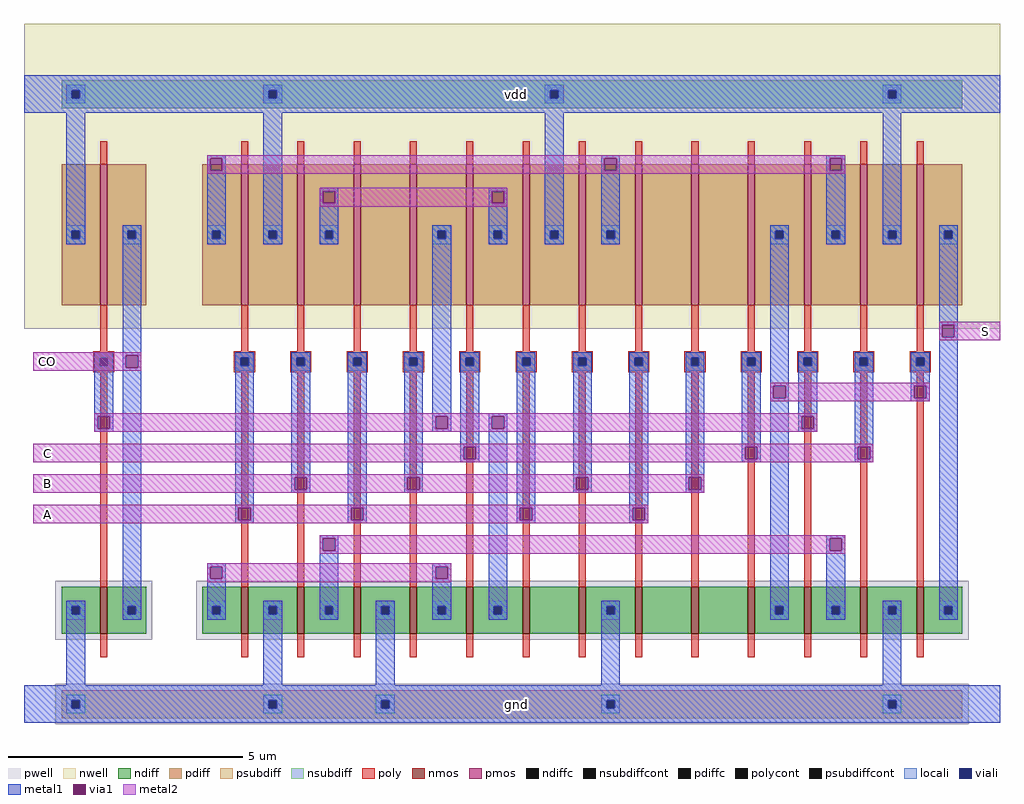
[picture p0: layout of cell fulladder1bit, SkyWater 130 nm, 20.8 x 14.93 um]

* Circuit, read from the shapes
.subckt fulladder1bit A B C CO S vdd gnd
XM1 CO n1 gnd gnd sky130_fd_pr__nfet_01v8 w=1 l=0.15
XM2 gnd A n2 gnd sky130_fd_pr__nfet_01v8 w=1 l=0.15
XM3 n3 B gnd gnd sky130_fd_pr__nfet_01v8 w=1 l=0.15
XM4 gnd A n3 gnd sky130_fd_pr__nfet_01v8 w=1 l=0.15
XM5 n2 B gnd gnd sky130_fd_pr__nfet_01v8 w=1 l=0.15
XM6 n1 C n2 gnd sky130_fd_pr__nfet_01v8 w=1 l=0.15
XM7 n4 A n1 gnd sky130_fd_pr__nfet_01v8 w=1 l=0.15
XM8 gnd B n4 gnd sky130_fd_pr__nfet_01v8 w=1 l=0.15
XM9 n5 A gnd gnd sky130_fd_pr__nfet_01v8 w=1 l=0.15
XM10 n6 B n5 gnd sky130_fd_pr__nfet_01v8 w=1 l=0.15
XM11 n7 C n6 gnd sky130_fd_pr__nfet_01v8 w=1 l=0.15
XM12 n3 n1 n7 gnd sky130_fd_pr__nfet_01v8 w=1 l=0.15
XM13 gnd C n3 gnd sky130_fd_pr__nfet_01v8 w=1 l=0.15
XM14 S n7 gnd gnd sky130_fd_pr__nfet_01v8 w=1 l=0.15
XM15 CO n1 vdd vdd sky130_fd_pr__pfet_01v8 w=3 l=0.15
XM16 vdd A n8 vdd sky130_fd_pr__pfet_01v8 w=3 l=0.15
XM17 n9 B vdd vdd sky130_fd_pr__pfet_01v8 w=3 l=0.15
XM18 n10 A n9 vdd sky130_fd_pr__pfet_01v8 w=3 l=0.15
XM19 n1 B n10 vdd sky130_fd_pr__pfet_01v8 w=3 l=0.15
XM20 n9 C n1 vdd sky130_fd_pr__pfet_01v8 w=3 l=0.15
XM21 vdd A n9 vdd sky130_fd_pr__pfet_01v8 w=3 l=0.15
XM22 n8 B vdd vdd sky130_fd_pr__pfet_01v8 w=3 l=0.15
XM23 n11 A n8 vdd sky130_fd_pr__pfet_01v8 w=3 l=0.15
XM24 n12 B n11 vdd sky130_fd_pr__pfet_01v8 w=3 l=0.15
XM25 n7 C n12 vdd sky130_fd_pr__pfet_01v8 w=3 l=0.15
XM26 n8 n1 n7 vdd sky130_fd_pr__pfet_01v8 w=3 l=0.15
XM27 vdd C n8 vdd sky130_fd_pr__pfet_01v8 w=3 l=0.15
XM28 S n7 vdd vdd sky130_fd_pr__pfet_01v8 w=3 l=0.15
.ends

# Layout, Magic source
magic
tech sky130A
magscale 1 2
<< nwell >>
rect -100 1700 4060 3000
<< pwell >>
rect 34 374 446 626
rect 634 374 3926 626
rect 34 14 3926 186
<< nmos >>
rect 225 400 255 600
rect 825 400 855 600
rect 1065 400 1095 600
rect 1305 400 1335 600
rect 1545 400 1575 600
rect 1785 400 1815 600
rect 2025 400 2055 600
rect 2265 400 2295 600
rect 2505 400 2535 600
rect 2745 400 2775 600
rect 2985 400 3015 600
rect 3225 400 3255 600
rect 3465 400 3495 600
rect 3705 400 3735 600
<< pmos >>
rect 225 1800 255 2400
rect 825 1800 855 2400
rect 1065 1800 1095 2400
rect 1305 1800 1335 2400
rect 1545 1800 1575 2400
rect 1785 1800 1815 2400
rect 2025 1800 2055 2400
rect 2265 1800 2295 2400
rect 2505 1800 2535 2400
rect 2745 1800 2775 2400
rect 2985 1800 3015 2400
rect 3225 1800 3255 2400
rect 3465 1800 3495 2400
rect 3705 1800 3735 2400
<< ndiff >>
rect 60 517 225 600
rect 60 483 103 517
rect 137 483 225 517
rect 60 400 225 483
rect 255 517 420 600
rect 255 483 343 517
rect 377 483 420 517
rect 255 400 420 483
rect 660 517 825 600
rect 660 483 703 517
rect 737 483 825 517
rect 660 400 825 483
rect 855 517 1065 600
rect 855 483 943 517
rect 977 483 1065 517
rect 855 400 1065 483
rect 1095 517 1305 600
rect 1095 483 1183 517
rect 1217 483 1305 517
rect 1095 400 1305 483
rect 1335 517 1545 600
rect 1335 483 1423 517
rect 1457 483 1545 517
rect 1335 400 1545 483
rect 1575 517 1785 600
rect 1575 483 1663 517
rect 1697 483 1785 517
rect 1575 400 1785 483
rect 1815 517 2025 600
rect 1815 483 1903 517
rect 1937 483 2025 517
rect 1815 400 2025 483
rect 2055 400 2265 600
rect 2295 517 2505 600
rect 2295 483 2383 517
rect 2417 483 2505 517
rect 2295 400 2505 483
rect 2535 400 2745 600
rect 2775 400 2985 600
rect 3015 517 3225 600
rect 3015 483 3103 517
rect 3137 483 3225 517
rect 3015 400 3225 483
rect 3255 517 3465 600
rect 3255 483 3343 517
rect 3377 483 3465 517
rect 3255 400 3465 483
rect 3495 517 3705 600
rect 3495 483 3583 517
rect 3617 483 3705 517
rect 3495 400 3705 483
rect 3735 517 3900 600
rect 3735 483 3823 517
rect 3857 483 3900 517
rect 3735 400 3900 483
<< pdiff >>
rect 60 2117 225 2400
rect 60 2083 103 2117
rect 137 2083 225 2117
rect 60 1800 225 2083
rect 255 2117 420 2400
rect 255 2083 343 2117
rect 377 2083 420 2117
rect 255 1800 420 2083
rect 660 2117 825 2400
rect 660 2083 703 2117
rect 737 2083 825 2117
rect 660 1800 825 2083
rect 855 2117 1065 2400
rect 855 2083 943 2117
rect 977 2083 1065 2117
rect 855 1800 1065 2083
rect 1095 2117 1305 2400
rect 1095 2083 1183 2117
rect 1217 2083 1305 2117
rect 1095 1800 1305 2083
rect 1335 1800 1545 2400
rect 1575 2117 1785 2400
rect 1575 2083 1663 2117
rect 1697 2083 1785 2117
rect 1575 1800 1785 2083
rect 1815 2117 2025 2400
rect 1815 2083 1903 2117
rect 1937 2083 2025 2117
rect 1815 1800 2025 2083
rect 2055 2117 2265 2400
rect 2055 2083 2143 2117
rect 2177 2083 2265 2117
rect 2055 1800 2265 2083
rect 2295 2117 2505 2400
rect 2295 2083 2383 2117
rect 2417 2083 2505 2117
rect 2295 1800 2505 2083
rect 2535 1800 2745 2400
rect 2775 1800 2985 2400
rect 3015 2117 3225 2400
rect 3015 2083 3103 2117
rect 3137 2083 3225 2117
rect 3015 1800 3225 2083
rect 3255 2117 3465 2400
rect 3255 2083 3343 2117
rect 3377 2083 3465 2117
rect 3255 1800 3465 2083
rect 3495 2117 3705 2400
rect 3495 2083 3583 2117
rect 3617 2083 3705 2117
rect 3495 1800 3705 2083
rect 3735 2117 3900 2400
rect 3735 2083 3823 2117
rect 3857 2083 3900 2117
rect 3735 1800 3900 2083
<< ndiffc >>
rect 103 483 137 517
rect 343 483 377 517
rect 703 483 737 517
rect 943 483 977 517
rect 1183 483 1217 517
rect 1423 483 1457 517
rect 1663 483 1697 517
rect 1903 483 1937 517
rect 2383 483 2417 517
rect 3103 483 3137 517
rect 3343 483 3377 517
rect 3583 483 3617 517
rect 3823 483 3857 517
<< pdiffc >>
rect 103 2083 137 2117
rect 343 2083 377 2117
rect 703 2083 737 2117
rect 943 2083 977 2117
rect 1183 2083 1217 2117
rect 1663 2083 1697 2117
rect 1903 2083 1937 2117
rect 2143 2083 2177 2117
rect 2383 2083 2417 2117
rect 3103 2083 3137 2117
rect 3343 2083 3377 2117
rect 3583 2083 3617 2117
rect 3823 2083 3857 2117
<< psubdiff >>
rect 60 117 3900 160
rect 60 83 103 117
rect 137 83 943 117
rect 977 83 1423 117
rect 1457 83 2383 117
rect 2417 83 3583 117
rect 3617 83 3900 117
rect 60 40 3900 83
<< nsubdiff >>
rect 60 2717 3900 2760
rect 60 2683 103 2717
rect 137 2683 943 2717
rect 977 2683 2143 2717
rect 2177 2683 3583 2717
rect 3617 2683 3900 2717
rect 60 2640 3900 2683
<< psubdiffcont >>
rect 103 83 137 117
rect 943 83 977 117
rect 1423 83 1457 117
rect 2383 83 2417 117
rect 3583 83 3617 117
<< nsubdiffcont >>
rect 103 2683 137 2717
rect 943 2683 977 2717
rect 2143 2683 2177 2717
rect 3583 2683 3617 2717
<< poly >>
rect 225 2400 255 2500
rect 825 2400 855 2500
rect 1065 2400 1095 2500
rect 1305 2400 1335 2500
rect 1545 2400 1575 2500
rect 1785 2400 1815 2500
rect 2025 2400 2055 2500
rect 2265 2400 2295 2500
rect 2505 2400 2535 2500
rect 2745 2400 2775 2500
rect 2985 2400 3015 2500
rect 3225 2400 3255 2500
rect 3465 2400 3495 2500
rect 3705 2400 3735 2500
rect 225 1605 255 1800
rect 825 1605 855 1800
rect 1065 1605 1095 1800
rect 1305 1605 1335 1800
rect 1545 1605 1575 1800
rect 1785 1605 1815 1800
rect 2025 1605 2055 1800
rect 2265 1605 2295 1800
rect 2505 1605 2535 1800
rect 2745 1605 2775 1800
rect 2985 1605 3015 1800
rect 3225 1605 3255 1800
rect 3465 1605 3495 1800
rect 3705 1605 3735 1800
rect 195 1577 285 1605
rect 195 1543 223 1577
rect 257 1543 285 1577
rect 195 1515 285 1543
rect 795 1577 885 1605
rect 795 1543 823 1577
rect 857 1543 885 1577
rect 795 1515 885 1543
rect 1035 1577 1125 1605
rect 1035 1543 1063 1577
rect 1097 1543 1125 1577
rect 1035 1515 1125 1543
rect 1275 1577 1365 1605
rect 1275 1543 1303 1577
rect 1337 1543 1365 1577
rect 1275 1515 1365 1543
rect 1515 1577 1605 1605
rect 1515 1543 1543 1577
rect 1577 1543 1605 1577
rect 1515 1515 1605 1543
rect 1755 1577 1845 1605
rect 1755 1543 1783 1577
rect 1817 1543 1845 1577
rect 1755 1515 1845 1543
rect 1995 1577 2085 1605
rect 1995 1543 2023 1577
rect 2057 1543 2085 1577
rect 1995 1515 2085 1543
rect 2235 1577 2325 1605
rect 2235 1543 2263 1577
rect 2297 1543 2325 1577
rect 2235 1515 2325 1543
rect 2475 1577 2565 1605
rect 2475 1543 2503 1577
rect 2537 1543 2565 1577
rect 2475 1515 2565 1543
rect 2715 1577 2805 1605
rect 2715 1543 2743 1577
rect 2777 1543 2805 1577
rect 2715 1515 2805 1543
rect 2955 1577 3045 1605
rect 2955 1543 2983 1577
rect 3017 1543 3045 1577
rect 2955 1515 3045 1543
rect 3195 1577 3285 1605
rect 3195 1543 3223 1577
rect 3257 1543 3285 1577
rect 3195 1515 3285 1543
rect 3435 1577 3525 1605
rect 3435 1543 3463 1577
rect 3497 1543 3525 1577
rect 3435 1515 3525 1543
rect 3675 1577 3765 1605
rect 3675 1543 3703 1577
rect 3737 1543 3765 1577
rect 3675 1515 3765 1543
rect 225 600 255 1515
rect 825 600 855 1515
rect 1065 600 1095 1515
rect 1305 600 1335 1515
rect 1545 600 1575 1515
rect 1785 600 1815 1515
rect 2025 600 2055 1515
rect 2265 600 2295 1515
rect 2505 600 2535 1515
rect 2745 600 2775 1515
rect 2985 600 3015 1515
rect 3225 600 3255 1515
rect 3465 600 3495 1515
rect 3705 600 3735 1515
rect 225 300 255 400
rect 825 300 855 400
rect 1065 300 1095 400
rect 1305 300 1335 400
rect 1545 300 1575 400
rect 1785 300 1815 400
rect 2025 300 2055 400
rect 2265 300 2295 400
rect 2505 300 2535 400
rect 2745 300 2775 400
rect 2985 300 3015 400
rect 3225 300 3255 400
rect 3465 300 3495 400
rect 3705 300 3735 400
<< polycont >>
rect 223 1543 257 1577
rect 823 1543 857 1577
rect 1063 1543 1097 1577
rect 1303 1543 1337 1577
rect 1543 1543 1577 1577
rect 1783 1543 1817 1577
rect 2023 1543 2057 1577
rect 2263 1543 2297 1577
rect 2503 1543 2537 1577
rect 2743 1543 2777 1577
rect 2983 1543 3017 1577
rect 3223 1543 3257 1577
rect 3463 1543 3497 1577
rect 3703 1543 3737 1577
<< locali >>
rect 80 2717 160 2740
rect 80 2683 103 2717
rect 137 2683 160 2717
rect 80 2660 160 2683
rect 920 2717 1000 2740
rect 920 2683 943 2717
rect 977 2683 1000 2717
rect 920 2660 1000 2683
rect 2120 2717 2200 2740
rect 2120 2683 2143 2717
rect 2177 2683 2200 2717
rect 2120 2660 2200 2683
rect 3560 2717 3640 2740
rect 3560 2683 3583 2717
rect 3617 2683 3640 2717
rect 3560 2660 3640 2683
rect 80 2117 160 2140
rect 80 2083 103 2117
rect 137 2083 160 2117
rect 80 2060 160 2083
rect 320 2117 400 2140
rect 320 2083 343 2117
rect 377 2083 400 2117
rect 320 2060 400 2083
rect 680 2117 760 2140
rect 680 2083 703 2117
rect 737 2083 760 2117
rect 680 2060 760 2083
rect 920 2117 1000 2140
rect 920 2083 943 2117
rect 977 2083 1000 2117
rect 920 2060 1000 2083
rect 1160 2117 1240 2140
rect 1160 2083 1183 2117
rect 1217 2083 1240 2117
rect 1160 2060 1240 2083
rect 1640 2117 1720 2140
rect 1640 2083 1663 2117
rect 1697 2083 1720 2117
rect 1640 2060 1720 2083
rect 1880 2117 1960 2140
rect 1880 2083 1903 2117
rect 1937 2083 1960 2117
rect 1880 2060 1960 2083
rect 2120 2117 2200 2140
rect 2120 2083 2143 2117
rect 2177 2083 2200 2117
rect 2120 2060 2200 2083
rect 2360 2117 2440 2140
rect 2360 2083 2383 2117
rect 2417 2083 2440 2117
rect 2360 2060 2440 2083
rect 3080 2117 3160 2140
rect 3080 2083 3103 2117
rect 3137 2083 3160 2117
rect 3080 2060 3160 2083
rect 3320 2117 3400 2140
rect 3320 2083 3343 2117
rect 3377 2083 3400 2117
rect 3320 2060 3400 2083
rect 3560 2117 3640 2140
rect 3560 2083 3583 2117
rect 3617 2083 3640 2117
rect 3560 2060 3640 2083
rect 3800 2117 3880 2140
rect 3800 2083 3823 2117
rect 3857 2083 3880 2117
rect 3800 2060 3880 2083
rect 200 1577 280 1600
rect 200 1543 223 1577
rect 257 1543 280 1577
rect 200 1520 280 1543
rect 800 1577 880 1600
rect 800 1543 823 1577
rect 857 1543 880 1577
rect 800 1520 880 1543
rect 1040 1577 1120 1600
rect 1040 1543 1063 1577
rect 1097 1543 1120 1577
rect 1040 1520 1120 1543
rect 1280 1577 1360 1600
rect 1280 1543 1303 1577
rect 1337 1543 1360 1577
rect 1280 1520 1360 1543
rect 1520 1577 1600 1600
rect 1520 1543 1543 1577
rect 1577 1543 1600 1577
rect 1520 1520 1600 1543
rect 1760 1577 1840 1600
rect 1760 1543 1783 1577
rect 1817 1543 1840 1577
rect 1760 1520 1840 1543
rect 2000 1577 2080 1600
rect 2000 1543 2023 1577
rect 2057 1543 2080 1577
rect 2000 1520 2080 1543
rect 2240 1577 2320 1600
rect 2240 1543 2263 1577
rect 2297 1543 2320 1577
rect 2240 1520 2320 1543
rect 2480 1577 2560 1600
rect 2480 1543 2503 1577
rect 2537 1543 2560 1577
rect 2480 1520 2560 1543
rect 2720 1577 2800 1600
rect 2720 1543 2743 1577
rect 2777 1543 2800 1577
rect 2720 1520 2800 1543
rect 2960 1577 3040 1600
rect 2960 1543 2983 1577
rect 3017 1543 3040 1577
rect 2960 1520 3040 1543
rect 3200 1577 3280 1600
rect 3200 1543 3223 1577
rect 3257 1543 3280 1577
rect 3200 1520 3280 1543
rect 3440 1577 3520 1600
rect 3440 1543 3463 1577
rect 3497 1543 3520 1577
rect 3440 1520 3520 1543
rect 3680 1577 3760 1600
rect 3680 1543 3703 1577
rect 3737 1543 3760 1577
rect 3680 1520 3760 1543
rect 80 517 160 540
rect 80 483 103 517
rect 137 483 160 517
rect 80 460 160 483
rect 320 517 400 540
rect 320 483 343 517
rect 377 483 400 517
rect 320 460 400 483
rect 680 517 760 540
rect 680 483 703 517
rect 737 483 760 517
rect 680 460 760 483
rect 920 517 1000 540
rect 920 483 943 517
rect 977 483 1000 517
rect 920 460 1000 483
rect 1160 517 1240 540
rect 1160 483 1183 517
rect 1217 483 1240 517
rect 1160 460 1240 483
rect 1400 517 1480 540
rect 1400 483 1423 517
rect 1457 483 1480 517
rect 1400 460 1480 483
rect 1640 517 1720 540
rect 1640 483 1663 517
rect 1697 483 1720 517
rect 1640 460 1720 483
rect 1880 517 1960 540
rect 1880 483 1903 517
rect 1937 483 1960 517
rect 1880 460 1960 483
rect 2360 517 2440 540
rect 2360 483 2383 517
rect 2417 483 2440 517
rect 2360 460 2440 483
rect 3080 517 3160 540
rect 3080 483 3103 517
rect 3137 483 3160 517
rect 3080 460 3160 483
rect 3320 517 3400 540
rect 3320 483 3343 517
rect 3377 483 3400 517
rect 3320 460 3400 483
rect 3560 517 3640 540
rect 3560 483 3583 517
rect 3617 483 3640 517
rect 3560 460 3640 483
rect 3800 517 3880 540
rect 3800 483 3823 517
rect 3857 483 3880 517
rect 3800 460 3880 483
rect 80 117 160 140
rect 80 83 103 117
rect 137 83 160 117
rect 80 60 160 83
rect 920 117 1000 140
rect 920 83 943 117
rect 977 83 1000 117
rect 920 60 1000 83
rect 1400 117 1480 140
rect 1400 83 1423 117
rect 1457 83 1480 117
rect 1400 60 1480 83
rect 2360 117 2440 140
rect 2360 83 2383 117
rect 2417 83 2440 117
rect 2360 60 2440 83
rect 3560 117 3640 140
rect 3560 83 3583 117
rect 3617 83 3640 117
rect 3560 60 3640 83
<< viali >>
rect 103 2683 137 2717
rect 943 2683 977 2717
rect 2143 2683 2177 2717
rect 3583 2683 3617 2717
rect 103 2083 137 2117
rect 343 2083 377 2117
rect 703 2083 737 2117
rect 943 2083 977 2117
rect 1183 2083 1217 2117
rect 1663 2083 1697 2117
rect 1903 2083 1937 2117
rect 2143 2083 2177 2117
rect 2383 2083 2417 2117
rect 3103 2083 3137 2117
rect 3343 2083 3377 2117
rect 3583 2083 3617 2117
rect 3823 2083 3857 2117
rect 223 1543 257 1577
rect 823 1543 857 1577
rect 1063 1543 1097 1577
rect 1303 1543 1337 1577
rect 1543 1543 1577 1577
rect 1783 1543 1817 1577
rect 2023 1543 2057 1577
rect 2263 1543 2297 1577
rect 2503 1543 2537 1577
rect 2743 1543 2777 1577
rect 2983 1543 3017 1577
rect 3223 1543 3257 1577
rect 3463 1543 3497 1577
rect 3703 1543 3737 1577
rect 103 483 137 517
rect 343 483 377 517
rect 703 483 737 517
rect 943 483 977 517
rect 1183 483 1217 517
rect 1423 483 1457 517
rect 1663 483 1697 517
rect 1903 483 1937 517
rect 2383 483 2417 517
rect 3103 483 3137 517
rect 3343 483 3377 517
rect 3583 483 3617 517
rect 3823 483 3857 517
rect 103 83 137 117
rect 943 83 977 117
rect 1423 83 1457 117
rect 2383 83 2417 117
rect 3583 83 3617 117
<< metal1 >>
rect -100 2717 4060 2780
rect -100 2683 103 2717
rect 137 2683 943 2717
rect 977 2683 2143 2717
rect 2177 2683 3583 2717
rect 3617 2683 4060 2717
rect -100 2620 4060 2683
rect 80 2117 160 2620
rect 680 2426 760 2440
rect 680 2374 694 2426
rect 746 2374 760 2426
rect 80 2083 103 2117
rect 137 2083 160 2117
rect 80 2060 160 2083
rect 320 2117 400 2140
rect 320 2083 343 2117
rect 377 2083 400 2117
rect 200 1577 280 1600
rect 200 1543 223 1577
rect 257 1543 280 1577
rect 200 1326 280 1543
rect 200 1274 214 1326
rect 266 1274 280 1326
rect 200 1260 280 1274
rect 320 1586 400 2083
rect 680 2117 760 2374
rect 680 2083 703 2117
rect 737 2083 760 2117
rect 680 2060 760 2083
rect 920 2117 1000 2620
rect 920 2083 943 2117
rect 977 2083 1000 2117
rect 920 2060 1000 2083
rect 1160 2286 1240 2300
rect 1160 2234 1174 2286
rect 1226 2234 1240 2286
rect 1160 2117 1240 2234
rect 1880 2286 1960 2300
rect 1880 2234 1894 2286
rect 1946 2234 1960 2286
rect 1160 2083 1183 2117
rect 1217 2083 1240 2117
rect 1160 2060 1240 2083
rect 1640 2117 1720 2140
rect 1640 2083 1663 2117
rect 1697 2083 1720 2117
rect 320 1534 334 1586
rect 386 1534 400 1586
rect 80 517 160 540
rect 80 483 103 517
rect 137 483 160 517
rect 80 180 160 483
rect 320 517 400 1534
rect 800 1577 880 1600
rect 800 1543 823 1577
rect 857 1543 880 1577
rect 800 936 880 1543
rect 1040 1577 1120 1600
rect 1040 1543 1063 1577
rect 1097 1543 1120 1577
rect 1040 1066 1120 1543
rect 1040 1014 1054 1066
rect 1106 1014 1120 1066
rect 1040 1000 1120 1014
rect 1280 1577 1360 1600
rect 1280 1543 1303 1577
rect 1337 1543 1360 1577
rect 800 884 814 936
rect 866 884 880 936
rect 800 870 880 884
rect 1280 936 1360 1543
rect 1520 1577 1600 1600
rect 1520 1543 1543 1577
rect 1577 1543 1600 1577
rect 1520 1066 1600 1543
rect 1640 1326 1720 2083
rect 1880 2117 1960 2234
rect 1880 2083 1903 2117
rect 1937 2083 1960 2117
rect 1880 2060 1960 2083
rect 2120 2117 2200 2620
rect 2120 2083 2143 2117
rect 2177 2083 2200 2117
rect 2120 2060 2200 2083
rect 2360 2426 2440 2440
rect 2360 2374 2374 2426
rect 2426 2374 2440 2426
rect 2360 2117 2440 2374
rect 3320 2426 3400 2440
rect 3320 2374 3334 2426
rect 3386 2374 3400 2426
rect 2360 2083 2383 2117
rect 2417 2083 2440 2117
rect 2360 2060 2440 2083
rect 3080 2117 3160 2140
rect 3080 2083 3103 2117
rect 3137 2083 3160 2117
rect 1640 1274 1654 1326
rect 1706 1274 1720 1326
rect 1640 1260 1720 1274
rect 1760 1577 1840 1600
rect 1760 1543 1783 1577
rect 1817 1543 1840 1577
rect 1760 1196 1840 1543
rect 2000 1577 2080 1600
rect 2000 1543 2023 1577
rect 2057 1543 2080 1577
rect 1760 1144 1774 1196
rect 1826 1144 1840 1196
rect 1760 1130 1840 1144
rect 1880 1326 1960 1340
rect 1880 1274 1894 1326
rect 1946 1274 1960 1326
rect 1520 1014 1534 1066
rect 1586 1014 1600 1066
rect 1520 1000 1600 1014
rect 1280 884 1294 936
rect 1346 884 1360 936
rect 1280 870 1360 884
rect 1160 806 1240 820
rect 1160 754 1174 806
rect 1226 754 1240 806
rect 320 483 343 517
rect 377 483 400 517
rect 320 460 400 483
rect 680 686 760 700
rect 680 634 694 686
rect 746 634 760 686
rect 680 517 760 634
rect 680 483 703 517
rect 737 483 760 517
rect 680 460 760 483
rect 920 517 1000 540
rect 920 483 943 517
rect 977 483 1000 517
rect 920 180 1000 483
rect 1160 517 1240 754
rect 1640 686 1720 700
rect 1640 634 1654 686
rect 1706 634 1720 686
rect 1160 483 1183 517
rect 1217 483 1240 517
rect 1160 460 1240 483
rect 1400 517 1480 540
rect 1400 483 1423 517
rect 1457 483 1480 517
rect 1400 180 1480 483
rect 1640 517 1720 634
rect 1640 483 1663 517
rect 1697 483 1720 517
rect 1640 460 1720 483
rect 1880 517 1960 1274
rect 2000 936 2080 1543
rect 2240 1577 2320 1600
rect 2240 1543 2263 1577
rect 2297 1543 2320 1577
rect 2240 1066 2320 1543
rect 2240 1014 2254 1066
rect 2306 1014 2320 1066
rect 2240 1000 2320 1014
rect 2480 1577 2560 1600
rect 2480 1543 2503 1577
rect 2537 1543 2560 1577
rect 2000 884 2014 936
rect 2066 884 2080 936
rect 2000 870 2080 884
rect 2480 936 2560 1543
rect 2720 1577 2800 1600
rect 2720 1543 2743 1577
rect 2777 1543 2800 1577
rect 2720 1066 2800 1543
rect 2960 1577 3040 1600
rect 2960 1543 2983 1577
rect 3017 1543 3040 1577
rect 2960 1196 3040 1543
rect 2960 1144 2974 1196
rect 3026 1144 3040 1196
rect 2960 1130 3040 1144
rect 3080 1456 3160 2083
rect 3320 2117 3400 2374
rect 3320 2083 3343 2117
rect 3377 2083 3400 2117
rect 3320 2060 3400 2083
rect 3560 2117 3640 2620
rect 3560 2083 3583 2117
rect 3617 2083 3640 2117
rect 3560 2060 3640 2083
rect 3800 2117 3880 2140
rect 3800 2083 3823 2117
rect 3857 2083 3880 2117
rect 3800 1716 3880 2083
rect 3800 1664 3814 1716
rect 3866 1664 3880 1716
rect 3080 1404 3094 1456
rect 3146 1404 3160 1456
rect 2720 1014 2734 1066
rect 2786 1014 2800 1066
rect 2720 1000 2800 1014
rect 2480 884 2494 936
rect 2546 884 2560 936
rect 2480 870 2560 884
rect 1880 483 1903 517
rect 1937 483 1960 517
rect 1880 460 1960 483
rect 2360 517 2440 540
rect 2360 483 2383 517
rect 2417 483 2440 517
rect 2360 180 2440 483
rect 3080 517 3160 1404
rect 3200 1577 3280 1600
rect 3200 1543 3223 1577
rect 3257 1543 3280 1577
rect 3200 1326 3280 1543
rect 3200 1274 3214 1326
rect 3266 1274 3280 1326
rect 3200 1260 3280 1274
rect 3440 1577 3520 1600
rect 3440 1543 3463 1577
rect 3497 1543 3520 1577
rect 3440 1196 3520 1543
rect 3680 1577 3760 1600
rect 3680 1543 3703 1577
rect 3737 1543 3760 1577
rect 3680 1456 3760 1543
rect 3680 1404 3694 1456
rect 3746 1404 3760 1456
rect 3680 1390 3760 1404
rect 3440 1144 3454 1196
rect 3506 1144 3520 1196
rect 3440 1130 3520 1144
rect 3080 483 3103 517
rect 3137 483 3160 517
rect 3080 460 3160 483
rect 3320 806 3400 820
rect 3320 754 3334 806
rect 3386 754 3400 806
rect 3320 517 3400 754
rect 3320 483 3343 517
rect 3377 483 3400 517
rect 3320 460 3400 483
rect 3560 517 3640 540
rect 3560 483 3583 517
rect 3617 483 3640 517
rect 3560 180 3640 483
rect 3800 517 3880 1664
rect 3800 483 3823 517
rect 3857 483 3880 517
rect 3800 460 3880 483
rect -100 117 4060 180
rect -100 83 103 117
rect 137 83 943 117
rect 977 83 1423 117
rect 1457 83 2383 117
rect 2417 83 3583 117
rect 3617 83 4060 117
rect -100 20 4060 83
<< via1 >>
rect 694 2374 746 2426
rect 214 1274 266 1326
rect 1174 2234 1226 2286
rect 1894 2234 1946 2286
rect 334 1534 386 1586
rect 1054 1014 1106 1066
rect 814 884 866 936
rect 2374 2374 2426 2426
rect 3334 2374 3386 2426
rect 1654 1274 1706 1326
rect 1774 1144 1826 1196
rect 1894 1274 1946 1326
rect 1534 1014 1586 1066
rect 1294 884 1346 936
rect 1174 754 1226 806
rect 694 634 746 686
rect 1654 634 1706 686
rect 2254 1014 2306 1066
rect 2014 884 2066 936
rect 2974 1144 3026 1196
rect 3814 1664 3866 1716
rect 3094 1404 3146 1456
rect 2734 1014 2786 1066
rect 2494 884 2546 936
rect 3214 1274 3266 1326
rect 3694 1404 3746 1456
rect 3454 1144 3506 1196
rect 3334 754 3386 806
<< metal2 >>
rect 680 2426 3400 2440
rect 680 2374 694 2426
rect 746 2374 2374 2426
rect 2426 2374 3334 2426
rect 3386 2374 3400 2426
rect 680 2360 3400 2374
rect 1160 2286 1960 2300
rect 1160 2234 1174 2286
rect 1226 2234 1894 2286
rect 1946 2234 1960 2286
rect 1160 2220 1960 2234
rect 3800 1716 4060 1730
rect 3800 1664 3814 1716
rect 3866 1664 4060 1716
rect 3800 1650 4060 1664
rect -60 1586 400 1600
rect -60 1534 334 1586
rect 386 1534 400 1586
rect -60 1520 400 1534
rect 3080 1456 3760 1470
rect 3080 1404 3094 1456
rect 3146 1404 3694 1456
rect 3746 1404 3760 1456
rect 3080 1390 3760 1404
rect 200 1326 3280 1340
rect 200 1274 214 1326
rect 266 1274 1654 1326
rect 1706 1274 1894 1326
rect 1946 1274 3214 1326
rect 3266 1274 3280 1326
rect 200 1260 3280 1274
rect -60 1196 3520 1210
rect -60 1144 1774 1196
rect 1826 1144 2974 1196
rect 3026 1144 3454 1196
rect 3506 1144 3520 1196
rect -60 1130 3520 1144
rect -60 1066 2800 1080
rect -60 1014 1054 1066
rect 1106 1014 1534 1066
rect 1586 1014 2254 1066
rect 2306 1014 2734 1066
rect 2786 1014 2800 1066
rect -60 1000 2800 1014
rect -60 936 2560 950
rect -60 884 814 936
rect 866 884 1294 936
rect 1346 884 2014 936
rect 2066 884 2494 936
rect 2546 884 2560 936
rect -60 870 2560 884
rect 1160 806 3400 820
rect 1160 754 1174 806
rect 1226 754 3334 806
rect 3386 754 3400 806
rect 1160 740 3400 754
rect 680 686 1720 700
rect 680 634 694 686
rect 746 634 1654 686
rect 1706 634 1720 686
rect 680 620 1720 634
<< labels >>
flabel metal2 s -30 880 30 940 2 FreeSans 2000 0 0 0 A
port 2 nsew
flabel metal2 s -30 1010 30 1070 2 FreeSans 2000 0 0 0 B
port 3 nsew
flabel metal2 s -30 1140 30 1200 2 FreeSans 2000 0 0 0 C
port 4 nsew
flabel metal2 s -30 1530 30 1590 2 FreeSans 2000 0 0 0 CO
port 5 nsew
flabel metal2 s 3970 1660 4030 1720 2 FreeSans 2000 0 0 0 S
port 6 nsew
flabel metal1 s 1970 2670 2030 2730 2 FreeSans 2000 0 0 0 vdd
port 7 nsew
flabel metal1 s 1970 70 2030 130 2 FreeSans 2000 0 0 0 gnd
port 8 nsew
<< end >>
